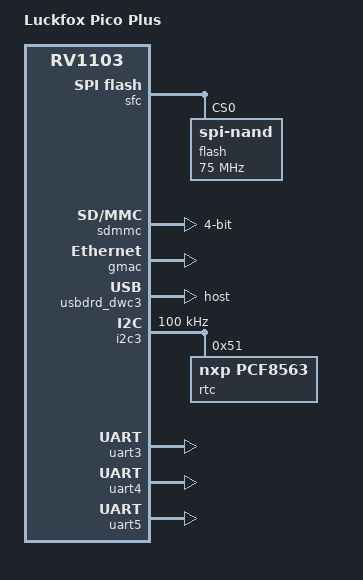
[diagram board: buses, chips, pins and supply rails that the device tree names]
// SPDX-License-Identifier: (GPL-2.0+ OR MIT)
/*
 * Copyright (c) 2022 Rockchip Electronics Co., Ltd.
 */

/dts-v1/;
#include "rv110x-luckfox-pico.dtsi"

/ {
	model = "Luckfox Pico Plus";
	compatible = "rockchip,rv1103g-38x38-ipc-v10", "rockchip,rv1103";
};

/**********SFC**********/
&sfc {
	status = "okay";
	flash@0 {
		compatible = "spi-nand";
		reg = <0>;
		spi-max-frequency = <75000000>;
		spi-rx-bus-width = <4>;
		spi-tx-bus-width = <1>;
	};
};

/**********SDMMC**********/
&sdmmc {
	max-frequency = <50000000>;
	no-sdio;
	no-mmc;
	bus-width = <4>;
	cap-mmc-highspeed;
	cap-sd-highspeed;
	disable-wp;
	pinctrl-names = "default";
	pinctrl-0 = <&sdmmc0_clk &sdmmc0_cmd &sdmmc0_det &sdmmc0_bus4>;
	status = "okay";
};

/**********ETH**********/
&gmac {
	status = "okay";
};

/**********USB**********/
//&usbdrd {
//	status = "disabled";
//};

&usbdrd_dwc3 {
	status = "okay";
	dr_mode = "host";
};

//&u2phy {
//	status = "disabled";
//};

//&u2phy_otg {
//	status = "disabled";
//};

/**********I2C**********/
// &i2c0 {
// 	status = "okay";
// 	pinctrl-0 = <&i2c0m2_xfer>;
// 	clock-frequency = <100000>;
// };
&i2c3 {
	status = "okay";
	pinctrl-0 = <&i2c3m1_xfer>;
	clock-frequency = <100000>;

	rtc@51 {
		compatible = "nxp,pcf8563";
		reg = <0x51>;
	};
};

/**********SPI**********/
/* SPI0_M0 */
&spi0 {
	status = "disabled";
	spidev@0 {
		spi-max-frequency = <50000000>;
	};
  fbtft@0 {
    spi-max-frequency = <50000000>;
  };
};

/**********UART**********/
&uart3 {
	status = "okay";
	pinctrl-names = "default";
	pinctrl-0 = <&uart3m1_xfer>;
};
&uart4 {
	status = "okay";
	pinctrl-names = "default";
	pinctrl-0 = <&uart4m1_xfer>;
};
&uart5 {
	status = "okay";
	pinctrl-names = "default";
	pinctrl-0 = <&uart5m0_xfer>;
};
